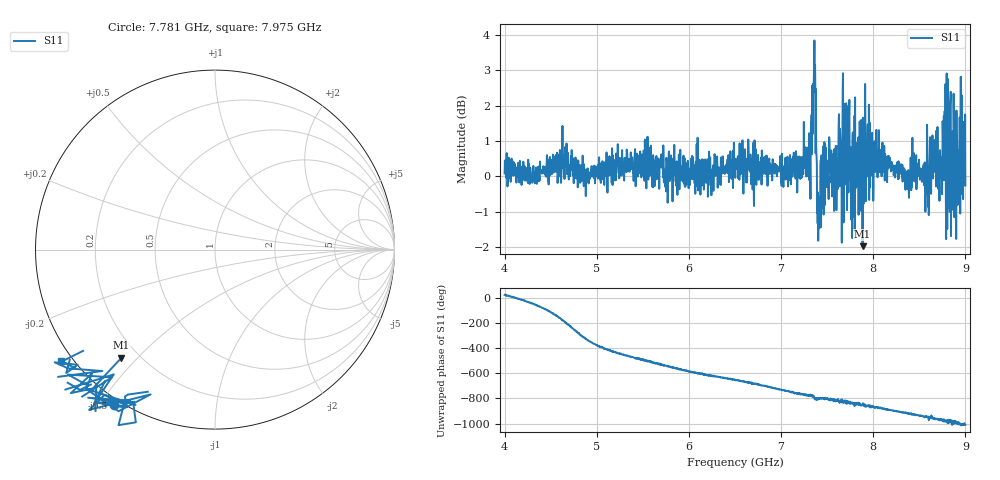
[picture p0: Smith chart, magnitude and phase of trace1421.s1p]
! Created with skrf 1.8.0 (http://scikit-rf.org).
# Hz S RI R 50.0
!freq ReS11 ImS11
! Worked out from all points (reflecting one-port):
!   1601 points, 4 GHz to 9 GHz, reference 50 ohm
!   lowest |S11| = -2.0 dB at 7.884 GHz (marker M1), VSWR 8.86, Z = 6.8 - j22.5 ohm
!   phase of S11 starts at 26 deg and turns -1036 deg over the sweep
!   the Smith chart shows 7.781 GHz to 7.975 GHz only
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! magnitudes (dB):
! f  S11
! 4 GHz  0.1
! 4.625 GHz  0.9
! 4.897 GHz  0.1
! 5.25 GHz  0.5
! 5.875 GHz  -0.5
! 6.5 GHz  0.4
! 7.125 GHz  0.1
! 7.294 GHz  0.2
! 7.353 GHz  2.5
! 7.369 GHz  3.1
! 7.409 GHz  -0.8
! 7.481 GHz  -0.2
! 7.591 GHz  0.0
! 7.647 GHz  1.0
! 7.731 GHz  -0.5
! 7.75 GHz  -0.1
! 7.775 GHz  1.0
! 7.884 GHz  -2.0
! 7.928 GHz  0.0
! 8.375 GHz  -0.4
! 8.441 GHz  -0.1
! 8.588 GHz  0.5
! 8.656 GHz  0.6
! 8.725 GHz  0.7
! 8.788 GHz  -0.6
! 8.919 GHz  -0.3
! 8.972 GHz  0.6
! 9 GHz  -0.3
